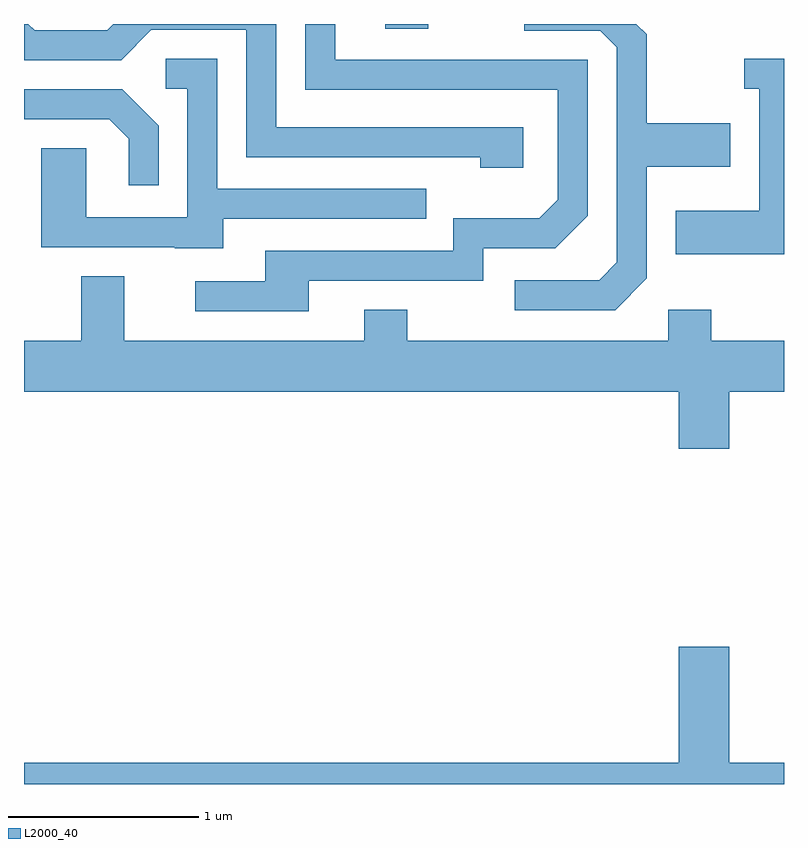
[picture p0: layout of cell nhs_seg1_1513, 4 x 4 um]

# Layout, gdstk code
import gdstk
lib = gdstk.Library(unit=1e-6, precision=1e-09)
def R(c, l, rs):  # rectangles x0, y0, x1, y1
    for r in rs: c.add(gdstk.rectangle(r[:2], r[2:], *l))
def P(c, l, *ps):  # polygons
    for p in ps: c.add(gdstk.Polygon(p, *l))
L2000_40 = (2000, 40)

nhs_seg1_1513 = lib.new_cell('nhs_seg1_1513')
R(nhs_seg1_1513, L2000_40, [(233.511,923.686,233.739,923.712)])
P(nhs_seg1_1513, L2000_40, [(234.889,922.374),(234.889,922.961),(235.329,922.961),(235.329,923.189),(234.889,923.189),(234.889,923.657),(234.834,923.712),(234.243,923.712),(234.243,923.676),(234.644,923.676),(234.731,923.589),(234.731,922.457),(234.639,922.364),(234.193,922.364),(234.193,922.206),(234.722,922.206)],
  [(234.239,923.169),(232.939,923.169),(232.939,923.712),(232.082,923.712),(232.049,923.679),(231.667,923.679),(231.634,923.712),(231.611,923.712),(231.611,923.521),(232.122,923.521),(232.282,923.681),(232.781,923.681),(232.781,923.011),(234.011,923.011),(234.011,922.956),(234.239,922.956)],
  [(233.109,922.361),(234.029,922.361),(234.029,922.531),(234.407,922.531),(234.579,922.704),(234.579,923.524),(233.249,923.524),(233.249,923.712),(233.091,923.712),(233.091,923.366),(234.421,923.366),(234.421,922.787),(234.324,922.689),(233.871,922.689),(233.871,922.519),(232.881,922.519),(232.881,922.359),(232.513,922.359),(232.513,922.201),(233.109,922.201)],
  [(232.659,922.686),(233.728,922.686),(233.728,922.844),(232.629,922.844),(232.629,923.529),(232.358,923.529),(232.358,923.371),(232.471,923.371),(232.471,922.694),(231.939,922.694),(231.939,923.059),(231.701,923.059),(231.701,922.536),(232.405,922.536),(232.405,922.531),(232.659,922.531)],
  [(235.611,923.529),(235.403,923.529),(235.403,923.371),(235.481,923.371),(235.481,922.729),(235.041,922.729),(235.041,922.501),(235.611,922.501)],
  [(232.319,923.177),(232.127,923.369),(231.611,923.369),(231.611,923.211),(232.059,923.211),(232.161,923.109),(232.161,922.863),(232.319,922.863)],
  [(235.324,921.776),(235.611,921.776),(235.611,922.044),(235.229,922.044),(235.229,922.209),(235.001,922.209),(235.001,922.044),(233.629,922.044),(233.629,922.209),(233.401,922.209),(233.401,922.044),(232.139,922.044),(232.139,922.384),(231.911,922.384),(231.911,922.044),(231.611,922.044),(231.611,921.776),(235.056,921.776),(235.056,921.476),(235.324,921.476)],
  [(235.611,919.824),(235.324,919.824),(235.324,920.434),(235.056,920.434),(235.056,919.824),(231.611,919.824),(231.611,919.712),(235.611,919.712)])

lib.write_gds('nhs_seg1_1513.gds')
